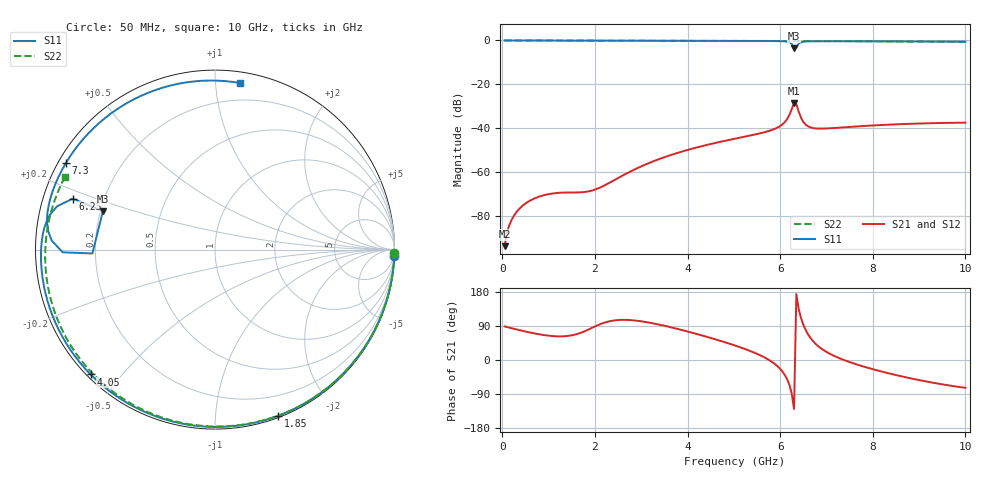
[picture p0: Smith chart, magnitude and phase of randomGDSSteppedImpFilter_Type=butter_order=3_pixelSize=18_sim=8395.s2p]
! freq	dB(S11)	phase(S11)	dB(S12)	phase(S12)
!  dB(S21)	phase(S21)	dB(S22)	phase(S22)
!S-par simulation data
#  GHz  S  DB  R 50
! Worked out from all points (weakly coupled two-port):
!   200 points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, 50 MHz to 10 GHz, reference 50 ohm
!   highest |S21| = -28.50 dB at 6.3 GHz (marker M1); lowest = -93.8 dB at 50 MHz (marker M2)
!   lowest |S11| = -3.6 dB at 6.3 GHz (marker M3), VSWR 4.89, Z = 10.5 + j7.98 ohm
!   |S11| at or under -10 dB: nowhere
!   |S22| runs from -0.6 to 0.0 dB; largest |S21 - S12| = 0
!   S11 on the Smith chart (normalised r, x): 50 MHz: 0, -57; 1.85 GHz: 0.01, -1.45; 4.05 GHz: 0.01, -0.42; 6.25 GHz: 0.09, +0.17; 7.3 GHz: 0.02, +0.27; 10 GHz: 0.07, +1.16
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0.05  -0.00 -2.0  -93.82 88.6  -93.82 88.6  -0.00 -1.1
0.25  -0.01 -9.9  -79.99 82.4  -79.99 82.4  -0.01 -5.7
0.5  -0.03 -19.6  -74.38 75.2  -74.38 75.2  -0.01 -11.3
0.85  -0.04 -33.1  -70.85 66.8  -70.85 66.8  -0.02 -19.2
1.75  -0.08 -65.9  -69.17 74.3  -69.17 74.3  -0.05 -39.1
1.85  -0.08 -69.3  -68.88 79.7  -68.88 79.7  -0.05 -41.2
2.6  -0.11 -93.7  -61.59 106.0  -61.59 106.0  -0.07 -57.3
3.4  -0.13 -117.3  -54.00 93.1  -54.00 93.1  -0.10 -73.8
4.05  -0.16 -134.9  -49.64 73.6  -49.64 73.6  -0.12 -86.9
5.05  -0.20 -160.2  -44.69 37.2  -44.69 37.2  -0.16 -106.4
5.95  -0.31 176.2  -39.65 -17.3  -39.65 -17.3  -0.22 -123.6
6.15  -0.54 168.0  -35.89 -50.6  -35.89 -50.6  -0.23 -127.4
6.25  -1.50 160.3  -31.35 -88.7  -31.35 -88.7  -0.26 -129.4
6.3  -3.60 161.1  -28.50 -129.4  -28.50 -129.4  -0.29 -130.3
6.35  -3.31 -178.2  -29.08 174.2  -29.08 174.2  -0.29 -131.0
6.4  -1.43 -179.0  -32.46 135.0  -32.46 135.0  -0.27 -131.9
6.5  -0.58 173.7  -37.14 93.3  -37.14 93.3  -0.26 -133.8
6.7  -0.37 165.7  -39.90 51.2  -39.90 51.2  -0.27 -137.7
7.3  -0.35 149.7  -39.73 3.7  -39.73 3.7  -0.32 -149.1
8.35  -0.41 124.0  -38.39 -35.3  -38.39 -35.3  -0.43 -169.8
9.2  -0.48 102.5  -37.77 -57.7  -37.77 -57.7  -0.53 172.4
10  -0.55 81.4  -37.49 -73.4  -37.49 -73.4  -0.64 154.2
